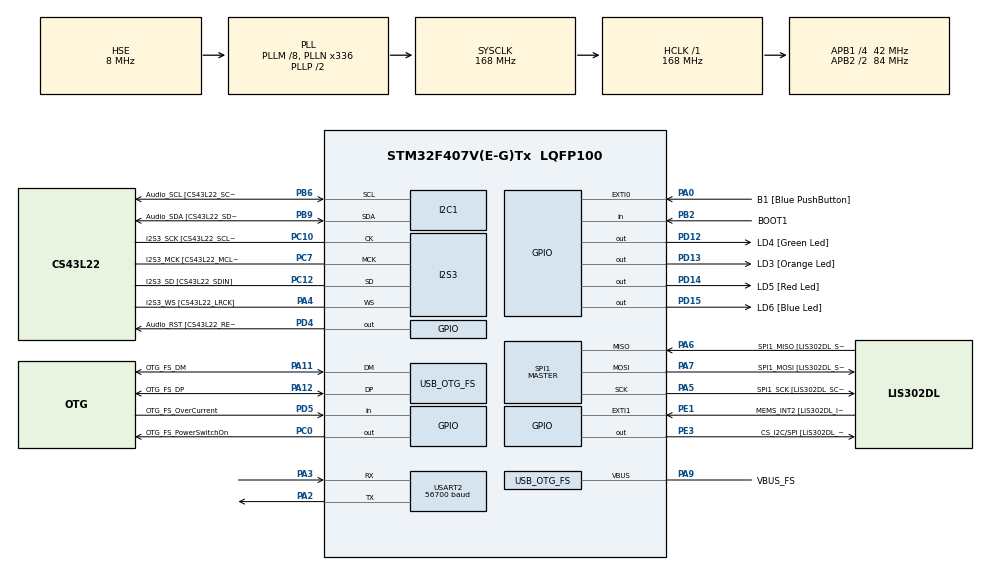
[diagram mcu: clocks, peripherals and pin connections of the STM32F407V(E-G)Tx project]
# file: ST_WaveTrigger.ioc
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Dma.Request0=SPI3_TX
Dma.SPI3_TX.0.Direction=DMA_MEMORY_TO_PERIPH
Dma.SPI3_TX.0.FIFOMode=DMA_FIFOMODE_ENABLE
Dma.SPI3_TX.0.FIFOThreshold=DMA_FIFO_THRESHOLD_FULL
Dma.SPI3_TX.0.Instance=DMA1_Stream7
Dma.SPI3_TX.0.MemBurst=DMA_MBURST_SINGLE
Dma.SPI3_TX.0.MemDataAlignment=DMA_MDATAALIGN_HALFWORD
Dma.SPI3_TX.0.MemInc=DMA_MINC_ENABLE
Dma.SPI3_TX.0.Mode=DMA_NORMAL
Dma.SPI3_TX.0.PeriphBurst=DMA_PBURST_SINGLE
Dma.SPI3_TX.0.PeriphDataAlignment=DMA_PDATAALIGN_HALFWORD
Dma.SPI3_TX.0.PeriphInc=DMA_PINC_DISABLE
Dma.SPI3_TX.0.Priority=DMA_PRIORITY_HIGH
FATFS._FS_LOCK=0
FATFS._FS_MINIMIZE=0
FATFS._FS_READONLY=1
FATFS._USE_LFN=3
FATFS._USE_MKFS=1
FATFS._USE_STRFUNC=2
FATFS._VOLUMES=2
I2S3.AudioFreq-Half_Duplex_Master=I2S_AUDIOFREQ_96K
I2S3.ErrorAudioFreq=-2.34 %
I2S3.ErrorAudioFreq-Half_Duplex_Master=0.8 %
I2S3.FullDuplexMode=I2S_FULLDUPLEXMODE_DISABLE
I2S3.Instance=SPI$Index
I2S3.RealAudioFreq=93.75 KHz
I2S3.RealAudioFreq-Half_Duplex_Master=96.774 KHz
I2S3.VirtualMode=I2S_MODE_MASTER
Mcu.Family=STM32F4
Mcu.Name=STM32F407V(E-G)Tx
Mcu.Package=LQFP100
NVIC.DMA1_Stream7_IRQn=true\:0\:0\:false\:false\:true\:false\:false\:true\:true
NVIC.OTG_FS_IRQn=true\:5\:0\:true\:false\:true\:false\:true\:true\:true
NVIC.PriorityGroup=NVIC_PRIORITYGROUP_4
NVIC.TIM1_UP_TIM10_IRQn=true\:13\:0\:true\:false\:true\:false\:false\:true\:true
NVIC.TimeBase=TIM1_UP_TIM10_IRQn
NVIC.TimeBaseIP=TIM1
NVIC.USART2_IRQn=true\:5\:0\:true\:false\:true\:false\:true\:true\:true
PA0-WKUP.GPIO_Label=B1 [Blue PushButton]
PA0-WKUP.GPIO_ModeDefaultEXTI=GPIO_MODE_EVT_RISING
PA0-WKUP.GPIO_PuPd=GPIO_NOPULL
PA0-WKUP.Signal=GPXTI0
PA10.GPIO_Label=OTG_FS_ID
PA10.GPIO_Mode=GPIO_MODE_AF_PP
PA10.GPIO_PuPd=GPIO_NOPULL
PA10.GPIO_Speed=GPIO_SPEED_FREQ_LOW
PA10.Signal=USB_OTG_FS_ID
PA11.GPIO_Label=OTG_FS_DM
PA11.GPIO_Mode=GPIO_MODE_AF_PP
PA11.GPIO_PuPd=GPIO_NOPULL
PA11.GPIO_Speed=GPIO_SPEED_FREQ_LOW
PA11.Mode=Host_Only
PA11.Signal=USB_OTG_FS_DM
PA12.GPIO_Label=OTG_FS_DP
PA12.GPIO_Mode=GPIO_MODE_AF_PP
PA12.GPIO_PuPd=GPIO_NOPULL
PA12.GPIO_Speed=GPIO_SPEED_FREQ_LOW
PA12.Mode=Host_Only
PA12.Signal=USB_OTG_FS_DP
PA13.GPIO_Label=SWDIO
PA13.Mode=Serial_Wire
PA13.Signal=SYS_JTMS-SWDIO
PA14.GPIO_Label=SWCLK
PA14.Mode=Serial_Wire
PA14.Signal=SYS_JTCK-SWCLK
PA2.Mode=Asynchronous
PA2.Signal=USART2_TX
PA3.Mode=Asynchronous
PA3.Signal=USART2_RX
PA4.GPIO_Label=I2S3_WS [CS43L22_LRCK]
PA4.GPIO_Mode=GPIO_MODE_AF_PP
PA4.GPIO_PuPd=GPIO_NOPULL
PA4.GPIO_Speed=GPIO_SPEED_FREQ_LOW
PA4.Mode=Half_Duplex_Master
PA4.Signal=I2S3_WS
PA5.GPIO_Label=SPI1_SCK [LIS302DL_SCL/SPC]
PA5.GPIO_Mode=GPIO_MODE_AF_PP
PA5.GPIO_PuPd=GPIO_NOPULL
PA5.GPIO_Speed=GPIO_SPEED_FREQ_LOW
PA5.Mode=Full_Duplex_Master
PA5.Signal=SPI1_SCK
PA6.GPIO_Label=SPI1_MISO [LIS302DL_SDO]
PA6.GPIO_Mode=GPIO_MODE_AF_PP
PA6.GPIO_PuPd=GPIO_NOPULL
PA6.GPIO_Speed=GPIO_SPEED_FREQ_LOW
PA6.Mode=Full_Duplex_Master
PA6.Signal=SPI1_MISO
PA7.GPIO_Label=SPI1_MOSI [LIS302DL_SDA/SDI/SDO]
PA7.GPIO_Mode=GPIO_MODE_AF_PP
PA7.GPIO_PuPd=GPIO_NOPULL
PA7.GPIO_Speed=GPIO_SPEED_FREQ_LOW
PA7.Mode=Full_Duplex_Master
PA7.Signal=SPI1_MOSI
PA9.GPIO_Label=VBUS_FS
PA9.GPIO_Mode=GPIO_MODE_INPUT
PA9.GPIO_PuPd=GPIO_NOPULL
PA9.Mode=Activate_VBUS
PA9.Signal=USB_OTG_FS_VBUS
PB10.GPIO_Label=CLK_IN [MP45DT02_CLK]
PB10.GPIO_Mode=GPIO_MODE_AF_PP
PB10.GPIO_PuPd=GPIO_NOPULL
PB10.GPIO_Speed=GPIO_SPEED_FREQ_LOW
PB10.Signal=I2S2_CK
PB2.GPIO_Label=BOOT1
PB2.GPIO_Mode=GPIO_MODE_INPUT
PB2.GPIO_PuPd=GPIO_NOPULL
PB2.Signal=GPIO_Input
PB3.GPIO_Label=SWO
PB3.Signal=SYS_JTDO-SWO
PB6.GPIO_Label=Audio_SCL [CS43L22_SCL]
PB6.GPIO_Mode=GPIO_MODE_AF_OD
PB6.GPIO_Pu=GPIO_PULLUP
PB6.GPIO_PuPd=GPIO_NOPULL
PB6.GPIO_Speed=GPIO_SPEED_FREQ_LOW
PB6.Mode=I2C
PB6.Signal=I2C1_SCL
PB9.GPIO_Label=Audio_SDA [CS43L22_SDA]
PB9.GPIO_Mode=GPIO_MODE_AF_OD
PB9.GPIO_Pu=GPIO_PULLUP
PB9.GPIO_PuPd=GPIO_NOPULL
PB9.GPIO_Speed=GPIO_SPEED_FREQ_LOW
PB9.Mode=I2C
PB9.Signal=I2C1_SDA
PC0.GPIO_Label=OTG_FS_PowerSwitchOn
PC0.GPIO_PuPd=GPIO_NOPULL
PC0.GPIO_Speed=GPIO_SPEED_FREQ_LOW
PC0.PinState=GPIO_PIN_SET
PC0.Signal=GPIO_Output
PC10.GPIO_Label=I2S3_SCK [CS43L22_SCLK]
PC10.GPIO_Mode=GPIO_MODE_AF_PP
PC10.GPIO_PuPd=GPIO_NOPULL
PC10.GPIO_Speed=GPIO_SPEED_FREQ_LOW
PC10.Mode=Half_Duplex_Master
PC10.Signal=I2S3_CK
PC12.GPIO_Label=I2S3_SD [CS43L22_SDIN]
PC12.GPIO_Mode=GPIO_MODE_AF_PP
PC12.GPIO_PuPd=GPIO_NOPULL
PC12.GPIO_Speed=GPIO_SPEED_FREQ_LOW
PC12.Mode=Half_Duplex_Master
PC12.Signal=I2S3_SD
PC14-OSC32_IN.GPIO_Label=PC14-OSC32_IN
PC14-OSC32_IN.Mode=LSE-External-Oscillator
PC14-OSC32_IN.Signal=RCC_OSC32_IN
PC15-OSC32_OUT.GPIO_Label=PC15-OSC32_OUT
PC15-OSC32_OUT.Mode=LSE-External-Oscillator
PC15-OSC32_OUT.Signal=RCC_OSC32_OUT
PC3.GPIO_Label=PDM_OUT [MP45DT02_DOUT]
PC3.GPIO_Mode=GPIO_MODE_AF_PP
PC3.GPIO_PuPd=GPIO_NOPULL
PC3.GPIO_Speed=GPIO_SPEED_FREQ_LOW
PC3.Signal=I2S2_SD
PC7.GPIO_Label=I2S3_MCK [CS43L22_MCLK]
PC7.GPIO_Mode=GPIO_MODE_AF_PP
PC7.GPIO_PuPd=GPIO_NOPULL
PC7.GPIO_Speed=GPIO_SPEED_FREQ_LOW
PC7.Mode=Master_Clock_Activated
PC7.Signal=I2S3_MCK
PD12.GPIO_Label=LD4 [Green Led]
PD12.GPIO_PuPd=GPIO_NOPULL
PD12.GPIO_Speed=GPIO_SPEED_FREQ_LOW
PD12.Signal=GPIO_Output
PD13.GPIO_Label=LD3 [Orange Led]
PD13.GPIO_PuPd=GPIO_NOPULL
PD13.GPIO_Speed=GPIO_SPEED_FREQ_LOW
PD13.Signal=GPIO_Output
PD14.GPIO_Label=LD5 [Red Led]
PD14.GPIO_PuPd=GPIO_NOPULL
PD14.GPIO_Speed=GPIO_SPEED_FREQ_LOW
PD14.Signal=GPIO_Output
PD15.GPIO_Label=LD6 [Blue Led]
PD15.GPIO_PuPd=GPIO_NOPULL
PD15.GPIO_Speed=GPIO_SPEED_FREQ_LOW
PD15.Signal=GPIO_Output
PD4.GPIO_Label=Audio_RST [CS43L22_RESET]
PD4.GPIO_PuPd=GPIO_NOPULL
PD4.GPIO_Speed=GPIO_SPEED_FREQ_LOW
PD4.Signal=GPIO_Output
PD5.GPIO_Label=OTG_FS_OverCurrent
PD5.GPIO_Mode=GPIO_MODE_INPUT
PD5.GPIO_PuPd=GPIO_NOPULL
PD5.Signal=GPIO_Input
PDM2PCM.NbCHANNEL=1
PE1.GPIO_Label=MEMS_INT2 [LIS302DL_INT2]
PE1.GPIO_ModeDefaultEXTI=GPIO_MODE_EVT_RISING
PE1.GPIO_PuPd=GPIO_NOPULL
PE1.Signal=GPXTI1
PE3.GPIO_Label=CS_I2C/SPI [LIS302DL_CS_I2C/SPI]
PE3.GPIO_PuPd=GPIO_NOPULL
PE3.GPIO_Speed=GPIO_SPEED_FREQ_LOW
PE3.Signal=GPIO_Output
PH0-OSC_IN.GPIO_Label=PH0-OSC_IN
PH0-OSC_IN.Mode=HSE-External-Oscillator
PH0-OSC_IN.Signal=RCC_OSC_IN
PH1-OSC_OUT.GPIO_Label=PH1-OSC_OUT
PH1-OSC_OUT.Mode=HSE-External-Oscillator
PH1-OSC_OUT.Signal=RCC_OSC_OUT
ProjectManager.HeapSize=0x200
ProjectManager.StackSize=0x400
ProjectManager.TargetToolchain=STM32CubeIDE
RCC.48MHZClocksFreq_Value=48000000
RCC.AHBFreq_Value=168000000
RCC.APB1CLKDivider=RCC_HCLK_DIV4
RCC.APB1Freq_Value=42000000
RCC.APB1TimFreq_Value=84000000
RCC.APB2CLKDivider=RCC_HCLK_DIV2
RCC.APB2Freq_Value=84000000
RCC.APB2TimFreq_Value=168000000
RCC.CortexFreq_Value=168000000
RCC.HCLKFreq_Value=168000000
RCC.HSE_VALUE=8000000
RCC.HSI_VALUE=16000000
RCC.PLLM=8
RCC.PLLN=336
RCC.PLLQ=7
RCC.SYSCLKFreq_VALUE=168000000
RCC.SYSCLKSource=RCC_SYSCLKSOURCE_PLLCLK
RCC.VCOOutputFreq_Value=336000000
SEGGER.I-CUBE-embOS.1.3.1.OS_NUMBER_OF_TASKS=1
SEGGER.I-CUBE-embOS.1.3.1.OS_TASK_STACK_SIZE=512
SEGGER.I-CUBE-embOS.1.3.1.OS_TASK_TIME_SLICE=1
SEGGER.I-CUBE-embOS.1.3.1.OS_VIEW_IF_SELECT=OS_VIEW_DISABLED
SEGGER.I-CUBE-embOS.1.3.1.embOSCcRTOSJjembOSOoAPIOoconfiguration=CMSISAaRTOS
SEGGER.I-CUBE-embOS.1.3.1.embOSCcRTOSJjembOSOokernelOoconfiguration=Debug
SPI1.BaudRatePrescaler-Full_Duplex_Master=SPI_BAUDRATEPRESCALER_2
SPI1.CalculateBaudRate-Full_Duplex_Master=42.0 MBits/s
SPI1.Direction=SPI_DIRECTION_2LINES
SPI1.Mode=SPI_MODE_MASTER
SPI1.Mode-Full_Duplex_Master=SPI_MODE_MASTER
SPI1.VirtualType=VM_MASTER
USART2.BaudRate=56700
USART2.VirtualMode=VM_ASYNC
USB_HOST.BSP.number=1
USB_HOST.USBH_HandleTypeDef-MSC_FS=hUsbHostFS
USB_HOST.USBH_MAX_SIZE_CONFIGURATION-MSC_FS=512
USB_HOST.USBH_USE_OS-MSC_FS=0
USB_HOST.VirtualModeFS=Msc
USB_HOST0.BSP.STBoard=false
USB_HOST0.BSP.api=Unknown
USB_HOST0.BSP.instance=PC0
USB_HOST0.BSP.ip=GPIO
USB_HOST0.BSP.mode=Output
USB_HOST0.BSP.name=Drive_VBUS_FS
USB_HOST0.BSP.solution=PC0
USB_OTG_FS.VirtualMode=Host_Only
USB_OTG_FS.phy_itface=HCD_PHY_EMBEDDED
VP_CRC_VS_CRC.Mode=CRC_Activate
VP_FATFS_VS_USB.Mode=USB
VP_PDM2PCM_VS_PDM2PCM.Mode=PDM2PCM_Channel
VP_SEGGER.I-CUBE-embOS_VS_RTOSJjembOS_1.1.0_1.3.1.Mode=RTOSJjembOS
VP_SYS_VS_tim1.Mode=TIM1
VP_USB_HOST_VS_USB_HOST_MSC_FS.Mode=MSC_FS
board=STM32F407G-DISC1

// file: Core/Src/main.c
/* USER CODE BEGIN Header */
/**
  ******************************************************************************
  * @file           : main.c
  * @brief          : Main program body
  ******************************************************************************
  * @attention
  *
  * Copyright (c) 2024 STMicroelectronics.
  * All rights reserved.
  *
  * This software is licensed under terms that can be found in the LICENSE file
  * in the root directory of this software component.
  * If no LICENSE file comes with this software, it is provided AS-IS.
  *
  ******************************************************************************
  */
/* USER CODE END Header */
#include "main.h"
/* Scheduler includes. */
#include "RTOS.h"

#include "fatfs.h"
#include "pdm2pcm.h"
#include "usb_host.h"

/* USER CODE BEGIN Includes */
#include "waveplayer.h"
#include "stm32f4_discovery.h"
#include "serial.h"
/* USER CODE END Includes */

CRC_HandleTypeDef hcrc;

I2C_HandleTypeDef hi2c1;

I2S_HandleTypeDef hi2s3;
DMA_HandleTypeDef hdma_spi3_tx;

SPI_HandleTypeDef hspi1;

UART_HandleTypeDef huart2;

/* USER CODE BEGIN Declarations_Task0 */
static OS_TASK         TaskCB0;                  // Control block for Task0
static OS_STACKPTR int Stack0[512];              // Stack for Task0
/* USER CODE END Declarations_Task0 */

/* USER CODE BEGIN PV */
/* Counter for User button presses. Defined as external in waveplayer.c file */
__IO uint32_t PressCount = 0;

/* Wave Player Pause/Resume Status. Defined as external in waveplayer.c file */
__IO uint32_t PauseResumeStatus = IDLE_STATUS;

/* Re-play Wave file status on/off.
   Defined as external in waveplayer.c file */
__IO uint32_t RepeatState = REPEAT_ON;

/* Capture Compare Register Value.
   Defined as external in stm32f4xx_it.c file */
//__IO uint16_t CCR1Val = 16826;

extern __IO uint32_t LEDsState;

__IO uint32_t CmdIndex = CMD_PLAY;
__IO uint32_t PbPressCheck = 0;

FATFS USBDISKFatFs;          /* File system object for USB disk logical drive */
char USBDISKPath[4];         /* USB Host logical drive path */

extern ApplicationTypeDef Appli_state;
static uint8_t  USBH_USR_ApplicationState = USBH_USR_FS_INIT;
/* USER CODE END PV */

void SystemClock_Config(void);
static void MX_GPIO_Init(void);
static void MX_DMA_Init(void);
static void MX_I2C1_Init(void);
static void MX_I2S3_Init(void);
static void MX_SPI1_Init(void);
static void MX_USART2_UART_Init(void);
static void MX_CRC_Init(void);

/* USER CODE BEGIN Prototype_Task0 */
static void Task0(void);
/* USER CODE END Prototype_Task0 */

void MX_USB_HOST_Process(void);

/* USER CODE BEGIN PFP */
static void MSC_Application(void);
static void COMMAND_AudioExecuteApplication(void);
/* USER CODE END PFP */

int main(void)
{

  /* MCU Configuration--------------------------------------------------------*/

  /* Reset of all peripherals, Initializes the Flash interface and the Systick. */
  HAL_Init();

  /* USER CODE BEGIN Init */
  BSP_LED_Init(LED3);
  BSP_LED_Init(LED4);
  BSP_LED_Init(LED5);
  BSP_LED_Init(LED6);
  /* USER CODE END Init */

  /* Configure the system clock */
  SystemClock_Config();

  /* Initialize all configured peripherals */
  MX_GPIO_Init();
  MX_DMA_Init();
  MX_I2C1_Init();
  MX_I2S3_Init();
  MX_SPI1_Init();
  MX_USB_HOST_Init();
  MX_USART2_UART_Init();
  MX_FATFS_Init();
  MX_CRC_Init();
  MX_PDM2PCM_Init();
  /* USER CODE BEGIN 2 */
  /* Turn ON LED4: start of application */
  BSP_LED_On(LED4);

  /* Initialize the Repeat state */
  RepeatState = REPEAT_ON;

  /* Turn OFF all LEDs */
  LEDsState = LEDS_OFF;

  /* Configure USER Button */
  BSP_PB_Init(BUTTON_KEY, BUTTON_MODE_EXTI);
  /* USER CODE END 2 */

  /* Initialize the embOS kernel and configure the hardware parameters for embOS */
  OS_Init();
  OS_InitHW();

  /* USER CODE BEGIN Creation_Task0 */
  OS_TASK_Create(&TaskCB0, "Task0", 100, Task0, Stack0, sizeof(Stack0), 2);  // Create Task0
  StartSerialTask();
  /* USER CODE END Creation_Task0 */

  /* Start embOS */
  OS_Start();

  /* Infinite loop */
  while (1)
  {
    MX_USB_HOST_Process();

  }
}

void SystemClock_Config(void)
{
  RCC_OscInitTypeDef RCC_OscInitStruct = {0};
  RCC_ClkInitTypeDef RCC_ClkInitStruct = {0};

  /** Configure the main internal regulator output voltage
  */
  __HAL_RCC_PWR_CLK_ENABLE();
  __HAL_PWR_VOLTAGESCALING_CONFIG(PWR_REGULATOR_VOLTAGE_SCALE1);

  /** Initializes the RCC Oscillators according to the specified parameters
  * in the RCC_OscInitTypeDef structure.
  */
  RCC_OscInitStruct.OscillatorType = RCC_OSCILLATORTYPE_HSE;
  RCC_OscInitStruct.HSEState = RCC_HSE_ON;
  RCC_OscInitStruct.PLL.PLLState = RCC_PLL_ON;
  RCC_OscInitStruct.PLL.PLLSource = RCC_PLLSOURCE_HSE;
  RCC_OscInitStruct.PLL.PLLM = 8;
  RCC_OscInitStruct.PLL.PLLN = 336;
  RCC_OscInitStruct.PLL.PLLP = RCC_PLLP_DIV2;
  RCC_OscInitStruct.PLL.PLLQ = 7;
  if (HAL_RCC_OscConfig(&RCC_OscInitStruct) != HAL_OK)
  {
    Error_Handler();
  }

  /** Initializes the CPU, AHB and APB buses clocks
  */
  RCC_ClkInitStruct.ClockType = RCC_CLOCKTYPE_HCLK|RCC_CLOCKTYPE_SYSCLK
                              |RCC_CLOCKTYPE_PCLK1|RCC_CLOCKTYPE_PCLK2;
  RCC_ClkInitStruct.SYSCLKSource = RCC_SYSCLKSOURCE_PLLCLK;
  RCC_ClkInitStruct.AHBCLKDivider = RCC_SYSCLK_DIV1;
  RCC_ClkInitStruct.APB1CLKDivider = RCC_HCLK_DIV4;
  RCC_ClkInitStruct.APB2CLKDivider = RCC_HCLK_DIV2;

  if (HAL_RCC_ClockConfig(&RCC_ClkInitStruct, FLASH_LATENCY_5) != HAL_OK)
  {
    Error_Handler();
  }
}

static void MX_CRC_Init(void)
{

  hcrc.Instance = CRC;
  if (HAL_CRC_Init(&hcrc) != HAL_OK)
  {
    Error_Handler();
  }
  __HAL_CRC_DR_RESET(&hcrc);

}

static void MX_I2C1_Init(void)
{

  hi2c1.Instance = I2C1;
  hi2c1.Init.ClockSpeed = 100000;
  hi2c1.Init.DutyCycle = I2C_DUTYCYCLE_2;
  hi2c1.Init.OwnAddress1 = 0;
  hi2c1.Init.AddressingMode = I2C_ADDRESSINGMODE_7BIT;
  hi2c1.Init.DualAddressMode = I2C_DUALADDRESS_DISABLE;
  hi2c1.Init.OwnAddress2 = 0;
  hi2c1.Init.GeneralCallMode = I2C_GENERALCALL_DISABLE;
  hi2c1.Init.NoStretchMode = I2C_NOSTRETCH_DISABLE;
  if (HAL_I2C_Init(&hi2c1) != HAL_OK)
  {
    Error_Handler();
  }

}

static void MX_I2S3_Init(void)
{

  hi2s3.Instance = SPI3;
  hi2s3.Init.Mode = I2S_MODE_MASTER_TX;
  hi2s3.Init.Standard = I2S_STANDARD_PHILIPS;
  hi2s3.Init.DataFormat = I2S_DATAFORMAT_16B;
  hi2s3.Init.MCLKOutput = I2S_MCLKOUTPUT_ENABLE;
  hi2s3.Init.AudioFreq = I2S_AUDIOFREQ_96K;
  hi2s3.Init.CPOL = I2S_CPOL_LOW;
  hi2s3.Init.ClockSource = I2S_CLOCK_PLL;
  hi2s3.Init.FullDuplexMode = I2S_FULLDUPLEXMODE_DISABLE;
  if (HAL_I2S_Init(&hi2s3) != HAL_OK)
  {
    Error_Handler();
  }

}

static void MX_SPI1_Init(void)
{

  /* SPI1 parameter configuration*/
  hspi1.Instance = SPI1;
  hspi1.Init.Mode = SPI_MODE_MASTER;
  hspi1.Init.Direction = SPI_DIRECTION_2LINES;
  hspi1.Init.DataSize = SPI_DATASIZE_8BIT;
  hspi1.Init.CLKPolarity = SPI_POLARITY_LOW;
  hspi1.Init.CLKPhase = SPI_PHASE_1EDGE;
  hspi1.Init.NSS = SPI_NSS_SOFT;
  hspi1.Init.BaudRatePrescaler = SPI_BAUDRATEPRESCALER_2;
  hspi1.Init.FirstBit = SPI_FIRSTBIT_MSB;
  hspi1.Init.TIMode = SPI_TIMODE_DISABLE;
  hspi1.Init.CRCCalculation = SPI_CRCCALCULATION_DISABLE;
  hspi1.Init.CRCPolynomial = 10;
  if (HAL_SPI_Init(&hspi1) != HAL_OK)
  {
    Error_Handler();
  }

}

static void MX_USART2_UART_Init(void)
{

  huart2.Instance = USART2;
  huart2.Init.BaudRate = 56700;
  huart2.Init.WordLength = UART_WORDLENGTH_8B;
  huart2.Init.StopBits = UART_STOPBITS_1;
  huart2.Init.Parity = UART_PARITY_NONE;
  huart2.Init.Mode = UART_MODE_TX_RX;
  huart2.Init.HwFlowCtl = UART_HWCONTROL_NONE;
  huart2.Init.OverSampling = UART_OVERSAMPLING_16;
  if (HAL_UART_Init(&huart2) != HAL_OK)
  {
    Error_Handler();
  }

}

static void MX_DMA_Init(void)
{

  /* DMA controller clock enable */
  __HAL_RCC_DMA1_CLK_ENABLE();

  /* DMA interrupt init */
  /* DMA1_Stream7_IRQn interrupt configuration */
  HAL_NVIC_SetPriority(DMA1_Stream7_IRQn, 0, 0);
  HAL_NVIC_EnableIRQ(DMA1_Stream7_IRQn);

}

static void MX_GPIO_Init(void)
{
  GPIO_InitTypeDef GPIO_InitStruct = {0};

  /* GPIO Ports Clock Enable */
  __HAL_RCC_GPIOE_CLK_ENABLE();
  __HAL_RCC_GPIOC_CLK_ENABLE();
  __HAL_RCC_GPIOH_CLK_ENABLE();
  __HAL_RCC_GPIOA_CLK_ENABLE();
  __HAL_RCC_GPIOB_CLK_ENABLE();
  __HAL_RCC_GPIOD_CLK_ENABLE();

  /*Configure GPIO pin Output Level */
  HAL_GPIO_WritePin(CS_I2C_SPI_GPIO_Port, CS_I2C_SPI_Pin, GPIO_PIN_RESET);

  /*Configure GPIO pin Output Level */
  HAL_GPIO_WritePin(OTG_FS_PowerSwitchOn_GPIO_Port, OTG_FS_PowerSwitchOn_Pin, GPIO_PIN_SET);

  /*Configure GPIO pin Output Level */
  HAL_GPIO_WritePin(GPIOD, LD4_Pin|LD3_Pin|LD5_Pin|LD6_Pin
                          |Audio_RST_Pin, GPIO_PIN_RESET);

  /*Configure GPIO pin : CS_I2C_SPI_Pin */
  GPIO_InitStruct.Pin = CS_I2C_SPI_Pin;
  GPIO_InitStruct.Mode = GPIO_MODE_OUTPUT_PP;
  GPIO_InitStruct.Pull = GPIO_NOPULL;
  GPIO_InitStruct.Speed = GPIO_SPEED_FREQ_LOW;
  HAL_GPIO_Init(CS_I2C_SPI_GPIO_Port, &GPIO_InitStruct);

  /*Configure GPIO pin : OTG_FS_PowerSwitchOn_Pin */
  GPIO_InitStruct.Pin = OTG_FS_PowerSwitchOn_Pin;
  GPIO_InitStruct.Mode = GPIO_MODE_OUTPUT_PP;
  GPIO_InitStruct.Pull = GPIO_NOPULL;
  GPIO_InitStruct.Speed = GPIO_SPEED_FREQ_LOW;
  HAL_GPIO_Init(OTG_FS_PowerSwitchOn_GPIO_Port, &GPIO_InitStruct);

  /*Configure GPIO pin : PDM_OUT_Pin */
  GPIO_InitStruct.Pin = PDM_OUT_Pin;
  GPIO_InitStruct.Mode = GPIO_MODE_AF_PP;
  GPIO_InitStruct.Pull = GPIO_NOPULL;
  GPIO_InitStruct.Speed = GPIO_SPEED_FREQ_LOW;
  GPIO_InitStruct.Alternate = GPIO_AF5_SPI2;
  HAL_GPIO_Init(PDM_OUT_GPIO_Port, &GPIO_InitStruct);

  /*Configure GPIO pin : B1_Pin */
  GPIO_InitStruct.Pin = B1_Pin;
  GPIO_InitStruct.Mode = GPIO_MODE_EVT_RISING;
  GPIO_InitStruct.Pull = GPIO_NOPULL;
  HAL_GPIO_Init(B1_GPIO_Port, &GPIO_InitStruct);

  /*Configure GPIO pin : BOOT1_Pin */
  GPIO_InitStruct.Pin = BOOT1_Pin;
  GPIO_InitStruct.Mode = GPIO_MODE_INPUT;
  GPIO_InitStruct.Pull = GPIO_NOPULL;
  HAL_GPIO_Init(BOOT1_GPIO_Port, &GPIO_InitStruct);

  /*Configure GPIO pin : CLK_IN_Pin */
  GPIO_InitStruct.Pin = CLK_IN_Pin;
  GPIO_InitStruct.Mode = GPIO_MODE_AF_PP;
  GPIO_InitStruct.Pull = GPIO_NOPULL;
  GPIO_InitStruct.Speed = GPIO_SPEED_FREQ_LOW;
  GPIO_InitStruct.Alternate = GPIO_AF5_SPI2;
  HAL_GPIO_Init(CLK_IN_GPIO_Port, &GPIO_InitStruct);

  /*Configure GPIO pins : LD4_Pin LD3_Pin LD5_Pin LD6_Pin
                           Audio_RST_Pin */
  GPIO_InitStruct.Pin = LD4_Pin|LD3_Pin|LD5_Pin|LD6_Pin
                          |Audio_RST_Pin;
  GPIO_InitStruct.Mode = GPIO_MODE_OUTPUT_PP;
  GPIO_InitStruct.Pull = GPIO_NOPULL;
  GPIO_InitStruct.Speed = GPIO_SPEED_FREQ_LOW;
  HAL_GPIO_Init(GPIOD, &GPIO_InitStruct);

  /*Configure GPIO pin : OTG_FS_OverCurrent_Pin */
  GPIO_InitStruct.Pin = OTG_FS_OverCurrent_Pin;
  GPIO_InitStruct.Mode = GPIO_MODE_INPUT;
  GPIO_InitStruct.Pull = GPIO_NOPULL;
  HAL_GPIO_Init(OTG_FS_OverCurrent_GPIO_Port, &GPIO_InitStruct);

  /*Configure GPIO pin : MEMS_INT2_Pin */
  GPIO_InitStruct.Pin = MEMS_INT2_Pin;
  GPIO_InitStruct.Mode = GPIO_MODE_EVT_RISING;
  GPIO_InitStruct.Pull = GPIO_NOPULL;
  HAL_GPIO_Init(MEMS_INT2_GPIO_Port, &GPIO_InitStruct);

}

/* USER CODE BEGIN 4 */
/**
  * @brief  Main routine for Mass storage application
  * @param  None
  * @retval None
  */
static void MSC_Application(void)
{
  switch (USBH_USR_ApplicationState)
  {
  case USBH_USR_AUDIO:
    /* Go to Audio menu */
    COMMAND_AudioExecuteApplication();

    /* Set user initialization flag */
    USBH_USR_ApplicationState = USBH_USR_FS_INIT;
    break;

  case USBH_USR_FS_INIT:
    /* Initializes the File System */
    if (f_mount(&USBDISKFatFs, (TCHAR const*)USBDISKPath, 0 ) != FR_OK )
    {
      /* FatFs initialisation fails */
      Error_Handler();
    }

    /* Go to menu */
    USBH_USR_ApplicationState = USBH_USR_AUDIO;
    break;

  default:
    break;
  }
}

/**
  * @brief  COMMAND_AudioExecuteApplication.
  * @param  None
  * @retval None
  */
static void COMMAND_AudioExecuteApplication(void)
{
  /* Execute the command switch the command index */
  switch (CmdIndex)
  {
    /* Start Playing from USB Flash memory */
  case CMD_PLAY:
      WavePlayerStart();
    break;

    /* Start Recording in USB Flash memory */
  case CMD_STOP:
    WavePlayerStop();
    break;

  default:
    break;
  }
}
/* USER CODE END 4 */

/* USER CODE BEGIN Task0 */
/**
  * @brief Function implementing Task0.
  * @retval None
  */
void Task0(void) {
	while (1) {
		MX_USB_HOST_Process();

		switch(Appli_state)
		{
		case APPLICATION_START:
		  MSC_Application();
		break;
		case APPLICATION_IDLE:
		default:
		break;
		}

		osDelay(1);
	}
}
/* USER CODE END Task0 */

void HAL_TIM_PeriodElapsedCallback(TIM_HandleTypeDef *htim)
{
  if (htim->Instance == TIM1) {
    HAL_IncTick();
  }
}

void Error_Handler(void)
{
  __disable_irq();
  while (1)
  {
  }
}
